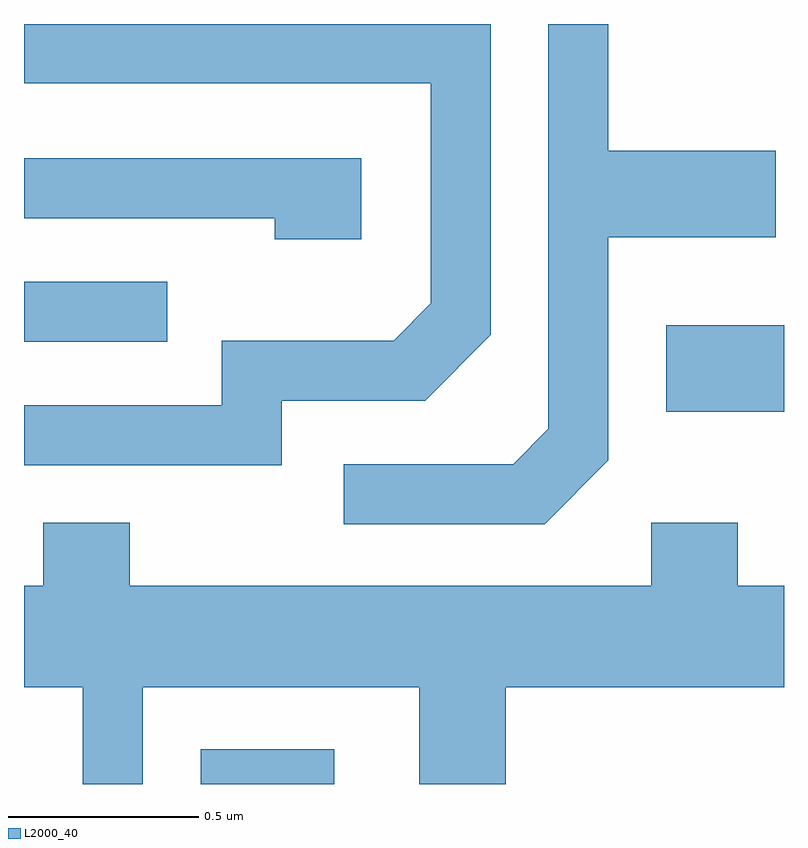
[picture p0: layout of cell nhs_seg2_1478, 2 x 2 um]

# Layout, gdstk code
import gdstk
lib = gdstk.Library(unit=1e-6, precision=1e-09)
def R(c, l, rs):  # rectangles x0, y0, x1, y1
    for r in rs: c.add(gdstk.rectangle(r[:2], r[2:], *l))
def P(c, l, *ps):  # polygons
    for p in ps: c.add(gdstk.Polygon(p, *l))
L2000_40 = (2000, 40)

nhs_seg2_1478 = lib.new_cell('nhs_seg2_1478')
R(nhs_seg2_1478, L2000_40, [(196.076,1085.802,196.428,1085.894), (197.301,1086.781,197.611,1087.009), (195.611,1086.966,195.988,1087.124)])
P(nhs_seg2_1478, L2000_40, [(197.149,1086.654),(197.149,1087.241),(197.589,1087.241),(197.589,1087.469),(197.149,1087.469),(197.149,1087.802),(196.991,1087.802),(196.991,1086.737),(196.899,1086.644),(196.453,1086.644),(196.453,1086.486),(196.982,1086.486)],
  [(196.289,1086.811),(196.667,1086.811),(196.839,1086.984),(196.839,1087.802),(195.611,1087.802),(195.611,1087.646),(196.681,1087.646),(196.681,1087.067),(196.584,1086.969),(196.131,1086.969),(196.131,1086.799),(195.611,1086.799),(195.611,1086.641),(196.289,1086.641)],
  [(196.499,1087.449),(195.611,1087.449),(195.611,1087.291),(196.271,1087.291),(196.271,1087.236),(196.499,1087.236)],
  [(195.924,1086.056),(196.651,1086.056),(196.651,1085.802),(196.879,1085.802),(196.879,1086.056),(197.611,1086.056),(197.611,1086.324),(197.489,1086.324),(197.489,1086.489),(197.261,1086.489),(197.261,1086.324),(195.889,1086.324),(195.889,1086.489),(195.661,1086.489),(195.661,1086.324),(195.611,1086.324),(195.611,1086.056),(195.766,1086.056),(195.766,1085.802),(195.924,1085.802)])

lib.write_gds('nhs_seg2_1478.gds')
